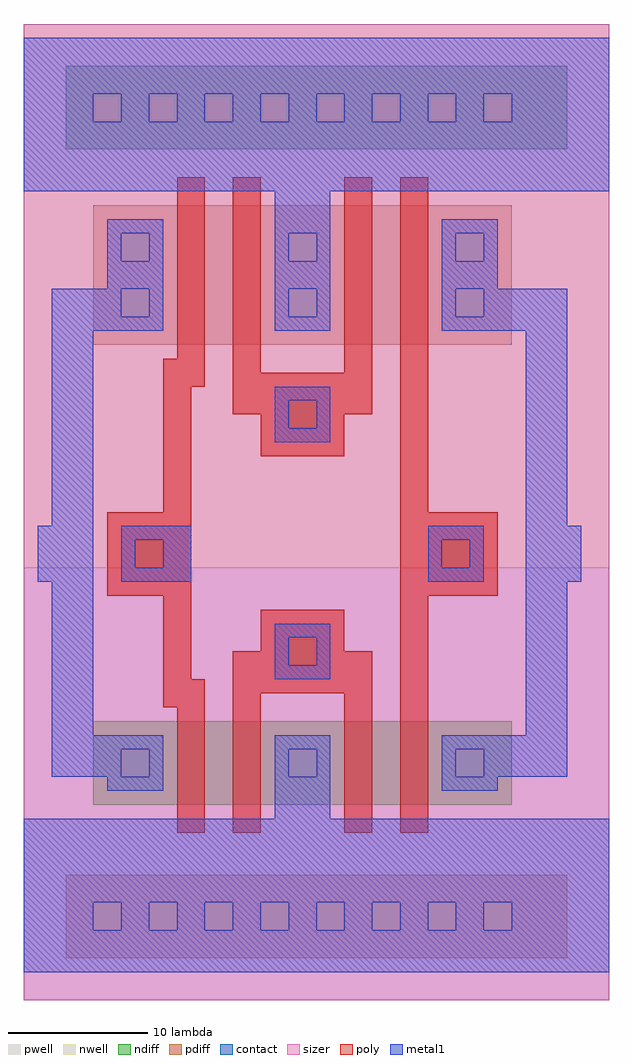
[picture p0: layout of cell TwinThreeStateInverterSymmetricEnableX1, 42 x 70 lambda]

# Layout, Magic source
magic
tech LibreSilicon-test000-concept-mg-70-7
<< sizer >>
rect 0 0 42 70
<< metal1 >>
rect 0 65 42 69
rect 0 63 5 65
rect 7 63 9 65
rect 11 63 13 65
rect 15 63 17 65
rect 19 63 21 65
rect 23 63 25 65
rect 27 63 29 65
rect 31 63 33 65
rect 35 63 42 65
rect 0 58 42 63
rect 18 55 22 58
rect 6 55 10 56
rect 30 55 34 56
rect 6 53 7 55
rect 9 53 10 55
rect 18 53 19 55
rect 21 53 22 55
rect 30 53 31 55
rect 33 53 34 55
rect 6 51 10 53
rect 18 51 22 53
rect 30 51 34 53
rect 2 49 7 51
rect 9 49 10 51
rect 18 49 19 51
rect 21 49 22 51
rect 30 49 31 51
rect 33 49 39 51
rect 2 48 10 49
rect 18 48 22 49
rect 30 48 39 49
rect 2 34 5 48
rect 36 34 39 48
rect 18 43 22 44
rect 18 41 19 43
rect 21 41 22 43
rect 18 40 22 41
rect 1 30 5 34
rect 7 33 12 34
rect 29 33 33 34
rect 36 30 40 34
rect 7 31 8 33
rect 10 31 12 33
rect 29 31 30 33
rect 32 31 33 33
rect 7 30 12 31
rect 29 30 33 31
rect 2 19 5 30
rect 36 19 39 30
rect 18 26 22 27
rect 18 24 19 26
rect 21 24 22 26
rect 18 23 22 24
rect 2 18 10 19
rect 18 18 22 19
rect 30 18 39 19
rect 2 16 7 18
rect 9 16 10 18
rect 18 16 19 18
rect 21 16 22 18
rect 30 16 31 18
rect 33 16 39 18
rect 6 15 10 16
rect 18 13 22 16
rect 30 15 34 16
rect 0 7 42 13
rect 0 5 5 7
rect 7 5 9 7
rect 11 5 13 7
rect 15 5 17 7
rect 19 5 21 7
rect 23 5 25 7
rect 27 5 29 7
rect 31 5 33 7
rect 35 5 42 7
rect 0 2 42 5
<< contact >>
rect 5 63 7 65
rect 9 63 11 65
rect 13 63 15 65
rect 17 63 19 65
rect 21 63 23 65
rect 25 63 27 65
rect 29 63 31 65
rect 33 63 35 65
rect 7 53 9 55
rect 19 53 21 55
rect 31 53 33 55
rect 7 49 9 51
rect 19 49 21 51
rect 31 49 33 51
rect 19 41 21 43
rect 8 31 10 33
rect 30 31 32 33
rect 19 24 21 26
rect 7 16 9 18
rect 19 16 21 18
rect 31 16 33 18
rect 5 5 7 7
rect 9 5 11 7
rect 13 5 15 7
rect 17 5 19 7
rect 21 5 23 7
rect 25 5 27 7
rect 29 5 31 7
rect 33 5 35 7
<< poly >>
rect 11 46 13 59
rect 15 45 17 59
rect 23 45 25 59
rect 27 35 29 59
rect 10 44 13 46
rect 15 42 25 45
rect 10 35 12 44
rect 17 39 23 42
rect 6 29 12 35
rect 27 29 34 35
rect 10 23 12 29
rect 27 12 29 29
rect 17 25 23 28
rect 15 22 25 25
rect 10 21 13 23
rect 15 12 17 22
rect 23 12 25 22
rect 11 12 13 21
<< ndiff >>
rect 3 61 39 67
rect 5 14 35 20
<< pdiff >>
rect 5 47 35 57
rect 3 3 39 9
<< nwell >>
rect 0 31 42 70
<< pwell >>
rect 0 0 42 31
<< end >>
